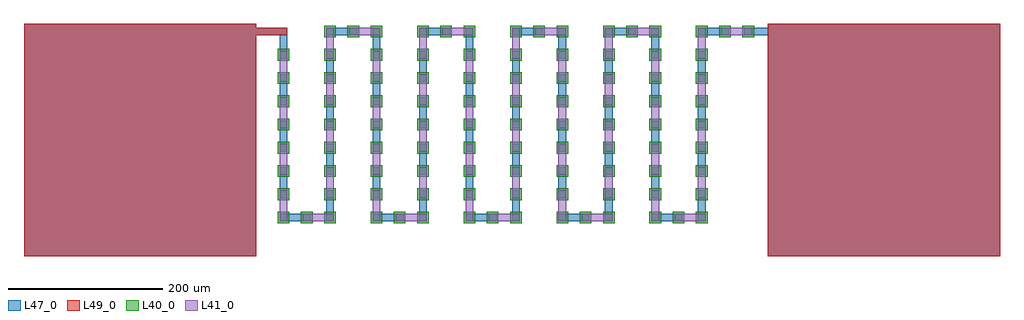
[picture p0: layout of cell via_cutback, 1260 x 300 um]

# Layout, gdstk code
from math import pi, radians
import gdstk
lib = gdstk.Library(unit=1e-6, precision=1e-09)
def R(c, l, rs):  # rectangles x0, y0, x1, y1
    for r in rs: c.add(gdstk.rectangle(r[:2], r[2:], *l))
L40_0 = (40, 0)
L41_0 = (41, 0)
L47_0 = (47, 0)
L49_0 = (49, 0)

rectangle_layer49_0_size = lib.new_cell('rectangle_layer49_0_size300_300')
R(rectangle_layer49_0_size, L49_0, [(0,0,300,300)])

rectangle_layer47_0_size = lib.new_cell('rectangle_layer47_0_size300_300')
R(rectangle_layer47_0_size, L47_0, [(0,0,300,300)])

c_rectangle_layer49_0_size = lib.new_cell('rectangle_layer49_0_size30_10')
R(c_rectangle_layer49_0_size, L49_0, [(0,0,30,10)])

compass_layer49_0_size30 = lib.new_cell('compass_layer49_0_size30_10')
compass_layer49_0_size30.add(gdstk.Reference(c_rectangle_layer49_0_size, (-15,-5)))

c_rectangle_layer47_0_size = lib.new_cell('rectangle_layer47_0_size30_10')
R(c_rectangle_layer47_0_size, L47_0, [(0,0,30,10)])

compass_layer47_0_size30 = lib.new_cell('compass_layer47_0_size30_10')
compass_layer47_0_size30.add(gdstk.Reference(c_rectangle_layer47_0_size, (-15,-5)))

c_rectangle_layer49_0_size_ = lib.new_cell('rectangle_layer49_0_size10_10')
R(c_rectangle_layer49_0_size_, L49_0, [(0,0,10,10)])

compass_layer49_0_size10 = lib.new_cell('compass_layer49_0_size10_10')
compass_layer49_0_size10.add(gdstk.Reference(c_rectangle_layer49_0_size_, (-5,-5)))

c_rectangle_layer47_0_size_ = lib.new_cell('rectangle_layer47_0_size10_10')
R(c_rectangle_layer47_0_size_, L47_0, [(0,0,10,10)])

compass_layer47_0_size10 = lib.new_cell('compass_layer47_0_size10_10')
compass_layer47_0_size10.add(gdstk.Reference(c_rectangle_layer47_0_size_, (-5,-5)))

c_rectangle_layer47_0_size__ = lib.new_cell('rectangle_layer47_0_size40_10')
R(c_rectangle_layer47_0_size__, L47_0, [(0,0,40,10)])

compass_layer47_0_size40 = lib.new_cell('compass_layer47_0_size40_10')
compass_layer47_0_size40.add(gdstk.Reference(c_rectangle_layer47_0_size__, (-20,-5)))

rectangle_layer41_0_size = lib.new_cell('rectangle_layer41_0_size40_10')
R(rectangle_layer41_0_size, L41_0, [(0,0,40,10)])

compass_layer41_0_size40 = lib.new_cell('compass_layer41_0_size40_10')
compass_layer41_0_size40.add(gdstk.Reference(rectangle_layer41_0_size, (-20,-5)))

rectangle_layer40_0_size = lib.new_cell('rectangle_layer40_0_size15_15')
R(rectangle_layer40_0_size, L40_0, [(0,0,15,15)])

compass_layer40_0_size15 = lib.new_cell('compass_layer40_0_size15_15')
compass_layer40_0_size15.add(gdstk.Reference(rectangle_layer40_0_size, (-7.5,-7.5)))

c__via_iterable_via_layer_ = lib.new_cell('_via_iterable_via_layer_e558300c')
c__via_iterable_via_layer_.add(gdstk.Reference(compass_layer47_0_size40, (-30,0)))
c__via_iterable_via_layer_.add(gdstk.Reference(compass_layer41_0_size40, (0,0)))
c__via_iterable_via_layer_.add(gdstk.Reference(compass_layer40_0_size15, (-15,0)))
c__via_iterable_via_layer_.add(gdstk.Reference(compass_layer40_0_size15, (15,0)))

via_cutback = lib.new_cell('via_cutback')
via_cutback.add(gdstk.Reference(rectangle_layer49_0_size, (0,0)))
via_cutback.add(gdstk.Reference(rectangle_layer47_0_size, (0,0)))
via_cutback.add(gdstk.Reference(rectangle_layer49_0_size, (960,0)))
via_cutback.add(gdstk.Reference(rectangle_layer47_0_size, (960,0)))
via_cutback.add(gdstk.Reference(compass_layer49_0_size30, (315,290)))
via_cutback.add(gdstk.Reference(compass_layer47_0_size30, (315,290)))
via_cutback.add(gdstk.Reference(compass_layer49_0_size10, (335,290)))
via_cutback.add(gdstk.Reference(compass_layer47_0_size10, (335,290)))
via_cutback.add(gdstk.Reference(c__via_iterable_via_layer_, (335,245), rotation=3*pi/2))
via_cutback.add(gdstk.Reference(c__via_iterable_via_layer_, (335,185), rotation=3*pi/2))
via_cutback.add(gdstk.Reference(c__via_iterable_via_layer_, (335,125), rotation=3*pi/2))
via_cutback.add(gdstk.Reference(c__via_iterable_via_layer_, (335,65), rotation=3*pi/2))
via_cutback.add(gdstk.Reference(c__via_iterable_via_layer_, (380,50)))
via_cutback.add(gdstk.Reference(c__via_iterable_via_layer_, (395,95), rotation=pi/2))
via_cutback.add(gdstk.Reference(c__via_iterable_via_layer_, (395,155), rotation=pi/2))
via_cutback.add(gdstk.Reference(c__via_iterable_via_layer_, (395,215), rotation=pi/2))
via_cutback.add(gdstk.Reference(c__via_iterable_via_layer_, (395,275), rotation=pi/2))
via_cutback.add(gdstk.Reference(c__via_iterable_via_layer_, (440,290)))
via_cutback.add(gdstk.Reference(c__via_iterable_via_layer_, (455,245), rotation=3*pi/2))
via_cutback.add(gdstk.Reference(c__via_iterable_via_layer_, (455,185), rotation=3*pi/2))
via_cutback.add(gdstk.Reference(c__via_iterable_via_layer_, (455,125), rotation=3*pi/2))
via_cutback.add(gdstk.Reference(c__via_iterable_via_layer_, (455,65), rotation=3*pi/2))
via_cutback.add(gdstk.Reference(c__via_iterable_via_layer_, (500,50)))
via_cutback.add(gdstk.Reference(c__via_iterable_via_layer_, (515,95), rotation=pi/2))
via_cutback.add(gdstk.Reference(c__via_iterable_via_layer_, (515,155), rotation=pi/2))
via_cutback.add(gdstk.Reference(c__via_iterable_via_layer_, (515,215), rotation=pi/2))
via_cutback.add(gdstk.Reference(c__via_iterable_via_layer_, (515,275), rotation=pi/2))
via_cutback.add(gdstk.Reference(c__via_iterable_via_layer_, (560,290)))
via_cutback.add(gdstk.Reference(c__via_iterable_via_layer_, (575,245), rotation=3*pi/2))
via_cutback.add(gdstk.Reference(c__via_iterable_via_layer_, (575,185), rotation=3*pi/2))
via_cutback.add(gdstk.Reference(c__via_iterable_via_layer_, (575,125), rotation=3*pi/2))
via_cutback.add(gdstk.Reference(c__via_iterable_via_layer_, (575,65), rotation=3*pi/2))
via_cutback.add(gdstk.Reference(c__via_iterable_via_layer_, (620,50)))
via_cutback.add(gdstk.Reference(c__via_iterable_via_layer_, (635,95), rotation=pi/2))
via_cutback.add(gdstk.Reference(c__via_iterable_via_layer_, (635,155), rotation=pi/2))
via_cutback.add(gdstk.Reference(c__via_iterable_via_layer_, (635,215), rotation=pi/2))
via_cutback.add(gdstk.Reference(c__via_iterable_via_layer_, (635,275), rotation=pi/2))
via_cutback.add(gdstk.Reference(c__via_iterable_via_layer_, (680,290)))
via_cutback.add(gdstk.Reference(c__via_iterable_via_layer_, (695,245), rotation=3*pi/2))
via_cutback.add(gdstk.Reference(c__via_iterable_via_layer_, (695,185), rotation=3*pi/2))
via_cutback.add(gdstk.Reference(c__via_iterable_via_layer_, (695,125), rotation=3*pi/2))
via_cutback.add(gdstk.Reference(c__via_iterable_via_layer_, (695,65), rotation=3*pi/2))
via_cutback.add(gdstk.Reference(c__via_iterable_via_layer_, (740,50)))
via_cutback.add(gdstk.Reference(c__via_iterable_via_layer_, (755,95), rotation=pi/2))
via_cutback.add(gdstk.Reference(c__via_iterable_via_layer_, (755,155), rotation=pi/2))
via_cutback.add(gdstk.Reference(c__via_iterable_via_layer_, (755,215), rotation=pi/2))
via_cutback.add(gdstk.Reference(c__via_iterable_via_layer_, (755,275), rotation=pi/2))
via_cutback.add(gdstk.Reference(c__via_iterable_via_layer_, (800,290)))
via_cutback.add(gdstk.Reference(c__via_iterable_via_layer_, (815,245), rotation=3*pi/2))
via_cutback.add(gdstk.Reference(c__via_iterable_via_layer_, (815,185), rotation=3*pi/2))
via_cutback.add(gdstk.Reference(c__via_iterable_via_layer_, (815,125), rotation=3*pi/2))
via_cutback.add(gdstk.Reference(c__via_iterable_via_layer_, (815,65), rotation=3*pi/2))
via_cutback.add(gdstk.Reference(c__via_iterable_via_layer_, (860,50)))
via_cutback.add(gdstk.Reference(c__via_iterable_via_layer_, (875,95), rotation=pi/2))
via_cutback.add(gdstk.Reference(c__via_iterable_via_layer_, (875,155), rotation=pi/2))
via_cutback.add(gdstk.Reference(c__via_iterable_via_layer_, (875,215), rotation=pi/2))
via_cutback.add(gdstk.Reference(c__via_iterable_via_layer_, (875,275), rotation=pi/2))
via_cutback.add(gdstk.Reference(c__via_iterable_via_layer_, (920,290)))
via_cutback.add(gdstk.Reference(compass_layer47_0_size30, (945,290)))
via_cutback.add(gdstk.Reference(compass_layer47_0_size30, (945,290)))

lib.write_gds('via_cutback.gds')
